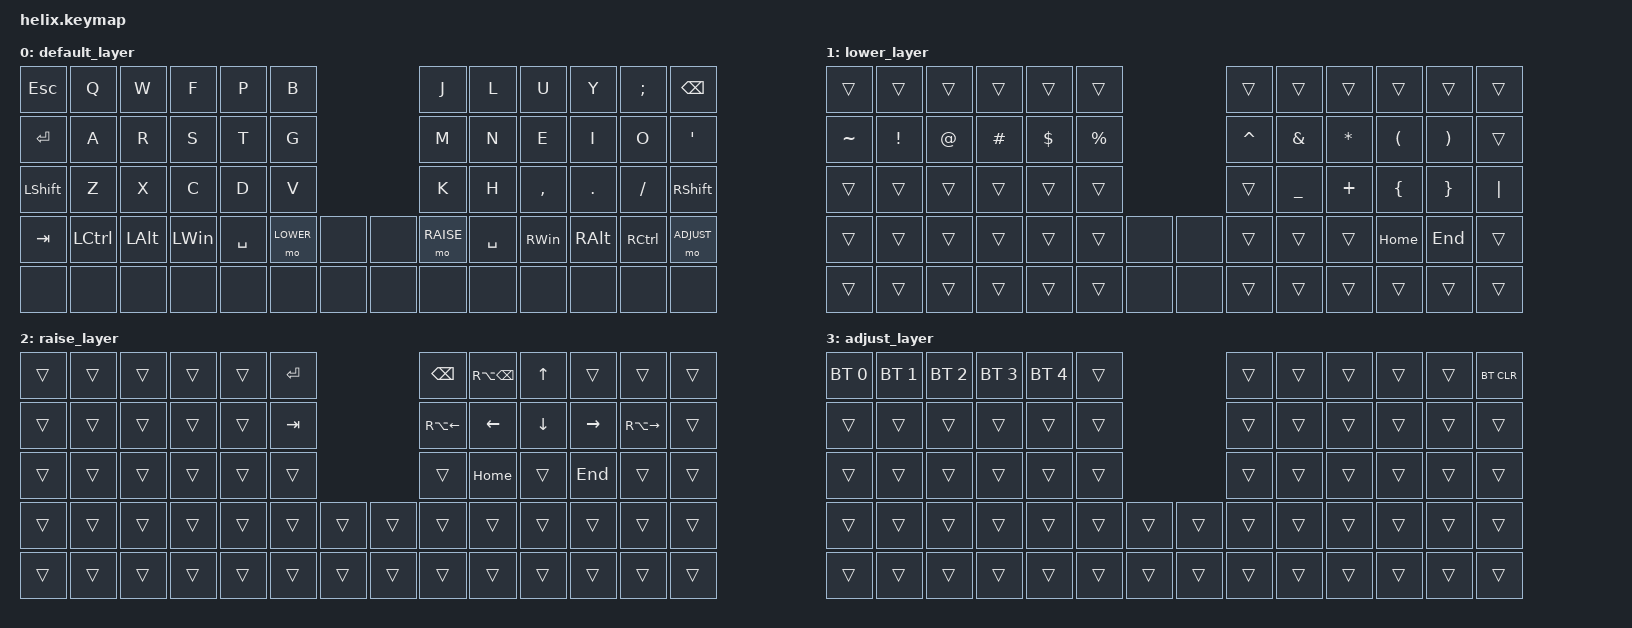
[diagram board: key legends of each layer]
/*
 * Copyright (c) 2020 The ZMK Contributors
 *
 * SPDX-License-Identifier: MIT
 */

 #include <behaviors.dtsi>
 #include <dt-bindings/zmk/keys.h>
 #include <dt-bindings/zmk/bt.h>
 #include <dt-bindings/zmk/rgb.h>
 #include <dt-bindings/zmk/ext_power.h>
 #include <dt-bindings/zmk/outputs.h>

 #define DEFAULT 0
 #define LOWER  1
 #define RAISE  2
 #define ADJUST 3

/* NOTE: At the time of the creation of this keymap, there are no specified codes for 'eisuu' and 'kana' input in ZMK.
However, 'LANG1' and 'LANG2' are fully-functioning candidates for 'kana' and 'eisuu' input respectively.
As such, those are in use within the default layer at this time.*/
/* QWERTY
       default_layer {
                     bindings = <
       &kp ESC    &kp Q       &kp W     &kp E     &kp R     &kp T                                &kp Y      &kp U     &kp I      &kp O      &kp P      &kp BSPC  
       &kp RET    &kp A       &kp S     &kp D     &kp F     &kp G                                &kp H      &kp J     &kp K      &kp L      &kp SEMI   &kp SQT   
       &kp LSHFT  &kp Z       &kp X     &kp C     &kp V     &kp B                                &kp N      &kp M     &kp COMMA  &kp PERIOD &kp QMARK  &kp RSHIFT    
       &none      &none       &kp LCTRL &kp LWIN  &mo LOWER &kp SPACE  &none              &none  &kp RSHIFT &mo RAISE &mo LOWER  &kp RALT   &none      &mo ADJUST
       &none      &none       &none     &none     &none     &none      &none              &none  &none      &none     &none      &none      &none      &none
                     >;
              };

*/

/ {
       keymap {
              compatible = "zmk,keymap";
 
              default_layer {
                     bindings = <
       &kp ESC    &kp Q       &kp W     &kp F     &kp P     &kp B                                &kp J      &kp L     &kp U      &kp Y      &kp SEMI   &kp BSPC  
       &kp RET    &kp A       &kp R     &kp S     &kp T     &kp G                                &kp M      &kp N     &kp E      &kp I      &kp O      &kp SQT   
       &kp LSHFT  &kp Z       &kp X     &kp C     &kp D     &kp V                                &kp K      &kp H     &kp COMMA  &kp PERIOD &kp SLASH  &kp RSHIFT    
       &kp TAB    &kp LCTRL   &kp LALT  &kp LWIN  &kp SPACE &mo LOWER  &none              &none  &mo RAISE  &kp SPACE &kp RWIN   &kp RALT   &kp RCTRL  &mo ADJUST
       &none      &none       &none     &none     &none     &none      &none              &none  &none      &none     &none      &none      &none      &none
                     >;
              };
              lower_layer {
                     bindings = <
       &trans    &trans   &trans &trans   &trans   &trans                             &trans    &trans    &trans    &trans   &trans   &trans
       &kp TILDE &kp EXCL &kp AT &kp HASH &kp DLLR &kp PRCNT                          &kp CARET &kp AMPS  &kp ASTRK &kp LPAR &kp RPAR &trans
       &trans    &trans   &trans &trans   &trans   &trans                             &trans    &kp UNDER &kp PLUS  &kp LBRC &kp RBRC &kp PIPE
       &trans    &trans   &trans &trans   &trans   &trans    &none           &none    &trans    &trans    &trans    &kp HOME &kp END  &trans
       &trans    &trans   &trans &trans   &trans   &trans    &none           &none    &trans    &trans    &trans    &trans   &trans   &trans
                     >;
              };
              raise_layer {
                     bindings = <
       &trans    &trans &trans &trans &trans  &kp RET                      &kp BSPC        &kp RA(BSPC)     &kp UP     &trans       &trans         &trans 
       &trans    &trans &trans &trans &trans  &kp TAB                      &kp RA(LEFT)    &kp LEFT         &kp DOWN   &kp RIGHT    &kp RA(RIGHT)  &trans           
       &trans    &trans &trans &trans &trans  &trans                       &trans          &kp HOME         &trans     &kp END      &trans         &trans
       &trans    &trans &trans &trans &trans  &trans  &trans        &trans &trans          &trans           &trans     &trans       &trans         &trans
       &trans    &trans &trans &trans &trans  &trans  &trans        &trans &trans          &trans           &trans     &trans       &trans         &trans
                     >;
              };
              adjust_layer {
                     bindings = <
       &bt BT_SEL 0  &bt BT_SEL 1 &bt BT_SEL 2 &bt BT_SEL 3 &bt BT_SEL 4 &trans                                &trans          &trans          &trans          &trans          &trans          &bt BT_CLR
       &trans        &trans       &trans       &trans       &trans       &trans                                &trans          &trans          &trans          &trans          &trans          &trans 
       &trans        &trans       &trans       &trans       &trans       &trans                                &trans          &trans          &trans          &trans          &trans          &trans
       &trans        &trans       &trans       &trans       &trans       &trans       &trans          &trans   &trans          &trans          &trans          &trans          &trans          &trans
       &trans        &trans       &trans       &trans       &trans       &trans       &trans          &trans   &trans          &trans          &trans          &trans          &trans          &trans
                     >;
              };
       };
};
